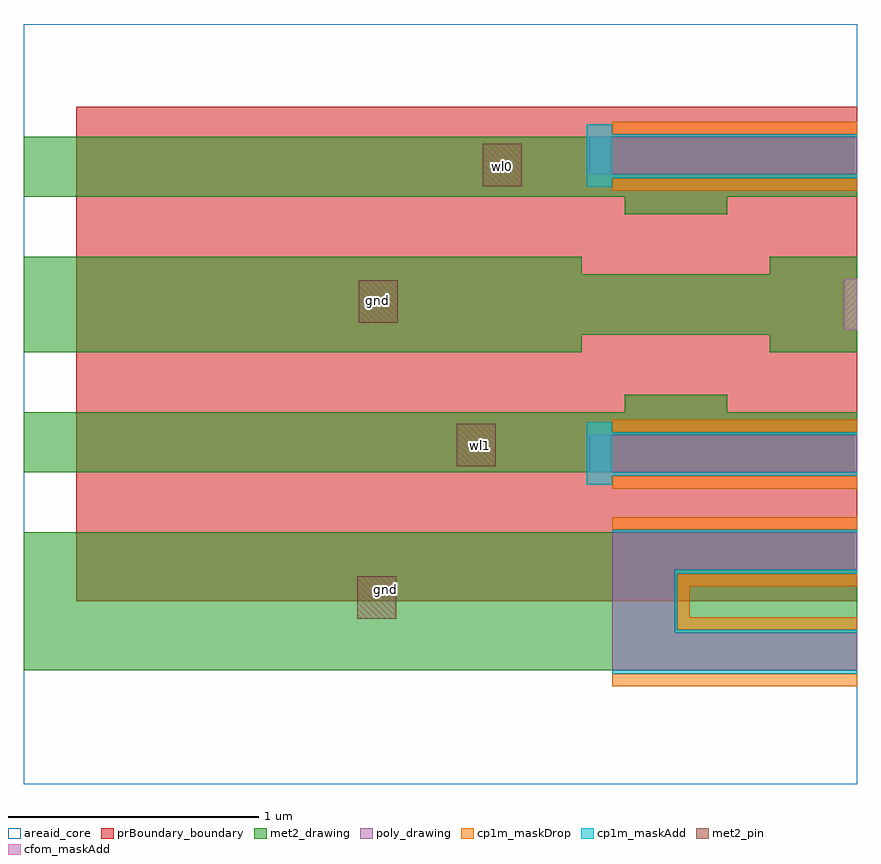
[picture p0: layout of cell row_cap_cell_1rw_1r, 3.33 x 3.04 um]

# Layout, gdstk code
import gdstk
lib = gdstk.Library(unit=1e-6, precision=1e-09)
def R(c, l, rs):  # rectangles x0, y0, x1, y1
    for r in rs: c.add(gdstk.rectangle(r[:2], r[2:], *l))
def P(c, l, *ps):  # polygons
    for p in ps: c.add(gdstk.Polygon(p, *l))
cfom_maskAdd = (22, 21)
cp1m_maskDrop = (33, 42)
cp1m_maskAdd = (33, 43)
poly_drawing = (66, 20)
met2_pin = (69, 16)
met2_drawing = (69, 20)
areaid_core = (81, 2)
prBoundary_boundary = (235, 4)

row_cap_cell_1rw_1r = lib.new_cell('row_cap_cell_1rw_1r')
R(row_cap_cell_1rw_1r, cfom_maskAdd, [(3.065,1.085,3.12,1.285)])
R(row_cap_cell_1rw_1r, cp1m_maskDrop, [(2.14,-0.34,2.4,-0.29), (2.4,-0.34,3.12,-0.29), (2.4,-0.115,3.12,-0.065), (2.4,-0.065,2.45,0.06), (2.4,0.06,3.12,0.11), (2.14,0.285,2.4,0.335), (2.4,0.285,3.12,0.335), (2.14,0.45,3.12,0.5), (2.14,0.675,3.12,0.725), (2.14,1.64,3.12,1.69), (2.14,1.865,3.12,1.915)])
R(row_cap_cell_1rw_1r, cp1m_maskAdd, [(2.14,-0.29,2.4,-0.275), (2.4,-0.29,3.12,-0.275), (2.39,-0.125,2.4,0.11), (2.4,-0.125,3.12,-0.115), (2.39,0.11,2.4,0.115), (2.4,0.11,3.12,0.125), (2.39,0.115,2.4,0.125), (2.14,0.275,2.4,0.285), (2.4,0.275,3.12,0.285), (2.04,0.465,2.14,0.715), (2.14,0.5,3.12,0.515), (2.14,0.665,3.12,0.675), (2.04,1.655,2.14,1.905), (2.14,1.69,3.12,1.705), (2.14,1.855,3.12,1.865)])
R(row_cap_cell_1rw_1r, poly_drawing, [(2.4,-0.275,3.12,-0.125), (2.4,0.125,3.12,0.275), (2.05,0.515,3.12,0.665), (2.05,0.515,2.4,0.665), (2.05,0.515,2.4,0.665), (2.05,1.705,3.12,1.855), (2.05,1.705,2.4,1.855)])
P(row_cap_cell_1rw_1r, poly_drawing, [(2.14,-0.275),(2.14,0.275),(2.4,0.275),(2.4,0.125),(2.39,0.125),(2.39,-0.125),(2.4,-0.125),(2.4,-0.275)])
R(row_cap_cell_1rw_1r, met2_pin, [(1.123,-0.071,1.279,0.099), (1.519,0.538,1.675,0.708), (1.128,1.111,1.284,1.281), (1.623,1.657,1.779,1.827)])
R(row_cap_cell_1rw_1r, met2_drawing, [(-0.21,-0.275,0,0.275), (0,-0.275,0.93,0.275), (0.93,-0.275,1.47,0.275), (1.47,-0.275,3.12,0.275), (-0.21,0.515,0,0.755), (0,0.515,2.4,0.755), (2.4,0.515,2.91,0.755), (2.91,0.515,3.12,0.755), (2.19,0.755,2.4,0.825), (2.4,0.755,2.6,0.825), (-0.21,0.995,0.93,1.375), (0.93,0.995,1.47,1.375), (2.91,0.995,3.12,1.375), (2.19,1.545,2.4,1.615), (2.4,1.545,2.6,1.615), (-0.21,1.615,0,1.855), (0,1.615,2.4,1.855), (2.4,1.615,2.91,1.855), (2.91,1.615,3.12,1.855)])
P(row_cap_cell_1rw_1r, met2_drawing, [(1.47,0.995),(1.47,1.375),(2.02,1.375),(2.02,1.305),(2.4,1.305),(2.4,1.065),(2.02,1.065),(2.02,0.995)],
  [(2.77,0.995),(2.77,1.065),(2.4,1.065),(2.4,1.305),(2.77,1.305),(2.77,1.375),(2.91,1.375),(2.91,0.995)])
R(row_cap_cell_1rw_1r, areaid_core, [(-0.21,-0.73,3.12,2.305)])
R(row_cap_cell_1rw_1r, prBoundary_boundary, [(0,0,3.12,1.975)])
row_cap_cell_1rw_1r.add(gdstk.Label('gnd', (1.205,1.2), layer=69, texttype=20))
row_cap_cell_1rw_1r.add(gdstk.Label('gnd', (1.237,0.045), layer=69, texttype=20))
row_cap_cell_1rw_1r.add(gdstk.Label('wl0', (1.703,1.737), layer=69, texttype=20))
row_cap_cell_1rw_1r.add(gdstk.Label('wl1', (1.614,0.622), layer=69, texttype=20))

lib.write_gds('row_cap_cell_1rw_1r.gds')
